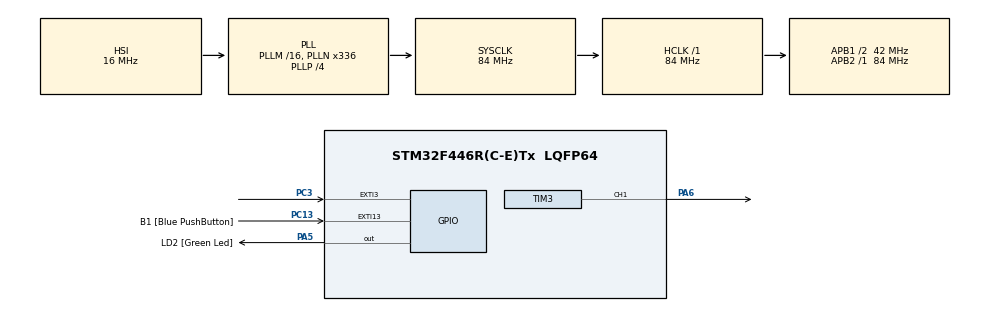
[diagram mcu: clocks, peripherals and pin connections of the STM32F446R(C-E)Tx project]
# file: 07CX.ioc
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Mcu.Family=STM32F4
Mcu.Name=STM32F446R(C-E)Tx
Mcu.Package=LQFP64
NVIC.EXTI15_10_IRQn=true\:0\:0\:false\:false\:true\:true\:true\:true
NVIC.EXTI3_IRQn=true\:0\:0\:false\:false\:true\:true\:true\:true
NVIC.PriorityGroup=NVIC_PRIORITYGROUP_0
PA13.GPIO_Label=TMS
PA13.Signal=SYS_JTMS-SWDIO
PA14.GPIO_Label=TCK
PA14.Signal=SYS_JTCK-SWCLK
PA2.GPIO_Label=USART_TX
PA2.Signal=USART2_TX
PA3.GPIO_Label=USART_RX
PA3.Signal=USART2_RX
PA5.GPIO_Label=LD2 [Green Led]
PA5.Signal=GPIO_Output
PA6.Signal=S_TIM3_CH1
PB3.GPIO_Label=SWO
PB3.Signal=SYS_JTDO-SWO
PC13.GPIO_Label=B1 [Blue PushButton]
PC13.GPIO_ModeDefaultEXTI=GPIO_MODE_IT_FALLING
PC13.GPIO_PuPd=GPIO_PULLUP
PC13.Signal=GPXTI13
PC14-OSC32_IN.Signal=RCC_OSC32_IN
PC15-OSC32_OUT.Signal=RCC_OSC32_OUT
PC3.GPIO_ModeDefaultEXTI=GPIO_MODE_IT_FALLING
PC3.GPIO_PuPd=GPIO_PULLUP
PC3.Signal=GPXTI3
PH0-OSC_IN.Signal=RCC_OSC_IN
PH1-OSC_OUT.Signal=RCC_OSC_OUT
ProjectManager.HeapSize=0x200
ProjectManager.StackSize=0x400
ProjectManager.TargetToolchain=STM32CubeIDE
RCC.AHBFreq_Value=84000000
RCC.APB1CLKDivider=RCC_HCLK_DIV2
RCC.APB1Freq_Value=42000000
RCC.APB1TimFreq_Value=84000000
RCC.APB2Freq_Value=84000000
RCC.APB2TimFreq_Value=84000000
RCC.CortexFreq_Value=84000000
RCC.FLatency-AdvancedSettings=FLASH_LATENCY_2
RCC.HCLKFreq_Value=84000000
RCC.HSE_VALUE=8000000
RCC.HSI_VALUE=16000000
RCC.LSE_VALUE=32768
RCC.PLLN=336
RCC.PLLP=RCC_PLLP_DIV4
RCC.SYSCLKFreq_VALUE=84000000
RCC.SYSCLKSource=RCC_SYSCLKSOURCE_PLLCLK
RCC.USBFreq_Value=168000000
RCC.VCOOutputFreq_Value=336000000
SH.S_TIM3_CH1.0=TIM3_CH1,Output Compare1 CH1
TIM3.Channel-Output\ Compare1\ CH1=TIM_CHANNEL_1
TIM3.OCMode_1=TIM_OCMODE_TOGGLE
TIM3.Period=13
TIM3.Prescaler=83
TIM6.Prescaler=83
VP_TIM3_VS_ClockSourceINT.Mode=Internal
VP_TIM6_VS_ClockSourceINT.Mode=Enable_Timer
board=NUCLEO-F446RE

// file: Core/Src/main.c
/* USER CODE BEGIN Header */
/**
  ******************************************************************************
  * @file           : main.c
  * @brief          : Main program body
  ******************************************************************************
  * @attention
  *
  * Copyright (c) 2025 STMicroelectronics.
  * All rights reserved.
  *
  * This software is licensed under terms that can be found in the LICENSE file
  * in the root directory of this software component.
  * If no LICENSE file comes with this software, it is provided AS-IS.
  *
  ******************************************************************************
  */
/* USER CODE END Header */
#include "main.h"

TIM_HandleTypeDef htim3;
TIM_HandleTypeDef htim6;

/* USER CODE BEGIN PV */

uint8_t ui8IRCounter;
uint8_t ui8NeedPulse;

uint8_t ui8TSOPTimer;
uint8_t ui8Error;

/* USER CODE END PV */

void SystemClock_Config(void);
static void MX_GPIO_Init(void);
static void MX_TIM3_Init(void);
static void MX_TIM6_Init(void);

int main(void)
{

  /* MCU Configuration--------------------------------------------------------*/

  /* Reset of all peripherals, Initializes the Flash interface and the Systick. */
  HAL_Init();

  /* Configure the system clock */
  SystemClock_Config();

  /* Initialize all configured peripherals */
  MX_GPIO_Init();
  MX_TIM3_Init();
  MX_TIM6_Init();
  /* USER CODE BEGIN 2 */

  HAL_TIM_OC_Start(&htim3, TIM_CHANNEL_1);
  HAL_TIM_Base_Start(&htim6);

  /* USER CODE END 2 */

  /* Infinite loop */
  /* USER CODE BEGIN WHILE */
  while (1)
  {
	  if(ui8NeedPulse)
	  {
		  ui8NeedPulse = 0;
		  GenerateIRPulse();

	  }

	  if(ui8Error)
	  {
		  HAL_GPIO_WritePin(GPIOA, GPIO_PIN_5, GPIO_PIN_SET);
	  }
	  else
	  {
		  HAL_GPIO_WritePin(GPIOA, GPIO_PIN_5, GPIO_PIN_RESET);
	  }
    /* USER CODE END WHILE */

  }
}

void SystemClock_Config(void)
{
  RCC_OscInitTypeDef RCC_OscInitStruct = {0};
  RCC_ClkInitTypeDef RCC_ClkInitStruct = {0};

  /** Configure the main internal regulator output voltage
  */
  __HAL_RCC_PWR_CLK_ENABLE();
  __HAL_PWR_VOLTAGESCALING_CONFIG(PWR_REGULATOR_VOLTAGE_SCALE3);

  /** Initializes the RCC Oscillators according to the specified parameters
  * in the RCC_OscInitTypeDef structure.
  */
  RCC_OscInitStruct.OscillatorType = RCC_OSCILLATORTYPE_HSI;
  RCC_OscInitStruct.HSIState = RCC_HSI_ON;
  RCC_OscInitStruct.HSICalibrationValue = RCC_HSICALIBRATION_DEFAULT;
  RCC_OscInitStruct.PLL.PLLState = RCC_PLL_ON;
  RCC_OscInitStruct.PLL.PLLSource = RCC_PLLSOURCE_HSI;
  RCC_OscInitStruct.PLL.PLLM = 16;
  RCC_OscInitStruct.PLL.PLLN = 336;
  RCC_OscInitStruct.PLL.PLLP = RCC_PLLP_DIV4;
  RCC_OscInitStruct.PLL.PLLQ = 2;
  RCC_OscInitStruct.PLL.PLLR = 2;
  if (HAL_RCC_OscConfig(&RCC_OscInitStruct) != HAL_OK)
  {
    Error_Handler();
  }

  /** Initializes the CPU, AHB and APB buses clocks
  */
  RCC_ClkInitStruct.ClockType = RCC_CLOCKTYPE_HCLK|RCC_CLOCKTYPE_SYSCLK
                              |RCC_CLOCKTYPE_PCLK1|RCC_CLOCKTYPE_PCLK2;
  RCC_ClkInitStruct.SYSCLKSource = RCC_SYSCLKSOURCE_PLLCLK;
  RCC_ClkInitStruct.AHBCLKDivider = RCC_SYSCLK_DIV1;
  RCC_ClkInitStruct.APB1CLKDivider = RCC_HCLK_DIV2;
  RCC_ClkInitStruct.APB2CLKDivider = RCC_HCLK_DIV1;

  if (HAL_RCC_ClockConfig(&RCC_ClkInitStruct, FLASH_LATENCY_2) != HAL_OK)
  {
    Error_Handler();
  }
}

static void MX_TIM3_Init(void)
{

  TIM_ClockConfigTypeDef sClockSourceConfig = {0};
  TIM_MasterConfigTypeDef sMasterConfig = {0};
  TIM_OC_InitTypeDef sConfigOC = {0};

  htim3.Instance = TIM3;
  htim3.Init.Prescaler = 83;
  htim3.Init.CounterMode = TIM_COUNTERMODE_UP;
  htim3.Init.Period = 13;
  htim3.Init.ClockDivision = TIM_CLOCKDIVISION_DIV1;
  htim3.Init.AutoReloadPreload = TIM_AUTORELOAD_PRELOAD_DISABLE;
  if (HAL_TIM_Base_Init(&htim3) != HAL_OK)
  {
    Error_Handler();
  }
  sClockSourceConfig.ClockSource = TIM_CLOCKSOURCE_INTERNAL;
  if (HAL_TIM_ConfigClockSource(&htim3, &sClockSourceConfig) != HAL_OK)
  {
    Error_Handler();
  }
  if (HAL_TIM_OC_Init(&htim3) != HAL_OK)
  {
    Error_Handler();
  }
  sMasterConfig.MasterOutputTrigger = TIM_TRGO_RESET;
  sMasterConfig.MasterSlaveMode = TIM_MASTERSLAVEMODE_DISABLE;
  if (HAL_TIMEx_MasterConfigSynchronization(&htim3, &sMasterConfig) != HAL_OK)
  {
    Error_Handler();
  }
  sConfigOC.OCMode = TIM_OCMODE_TOGGLE;
  sConfigOC.Pulse = 0;
  sConfigOC.OCPolarity = TIM_OCPOLARITY_HIGH;
  sConfigOC.OCFastMode = TIM_OCFAST_DISABLE;
  if (HAL_TIM_OC_ConfigChannel(&htim3, &sConfigOC, TIM_CHANNEL_1) != HAL_OK)
  {
    Error_Handler();
  }
  HAL_TIM_MspPostInit(&htim3);

}

static void MX_TIM6_Init(void)
{

  TIM_MasterConfigTypeDef sMasterConfig = {0};

  htim6.Instance = TIM6;
  htim6.Init.Prescaler = 83;
  htim6.Init.CounterMode = TIM_COUNTERMODE_UP;
  htim6.Init.Period = 65535;
  htim6.Init.AutoReloadPreload = TIM_AUTORELOAD_PRELOAD_DISABLE;
  if (HAL_TIM_Base_Init(&htim6) != HAL_OK)
  {
    Error_Handler();
  }
  sMasterConfig.MasterOutputTrigger = TIM_TRGO_RESET;
  sMasterConfig.MasterSlaveMode = TIM_MASTERSLAVEMODE_DISABLE;
  if (HAL_TIMEx_MasterConfigSynchronization(&htim6, &sMasterConfig) != HAL_OK)
  {
    Error_Handler();
  }

}

static void MX_GPIO_Init(void)
{
  GPIO_InitTypeDef GPIO_InitStruct = {0};

  /* GPIO Ports Clock Enable */
  __HAL_RCC_GPIOC_CLK_ENABLE();
  __HAL_RCC_GPIOH_CLK_ENABLE();
  __HAL_RCC_GPIOA_CLK_ENABLE();
  __HAL_RCC_GPIOB_CLK_ENABLE();

  /*Configure GPIO pin Output Level */
  HAL_GPIO_WritePin(LD2_GPIO_Port, LD2_Pin, GPIO_PIN_RESET);

  /*Configure GPIO pins : B1_Pin PC3 */
  GPIO_InitStruct.Pin = B1_Pin|GPIO_PIN_3;
  GPIO_InitStruct.Mode = GPIO_MODE_IT_FALLING;
  GPIO_InitStruct.Pull = GPIO_PULLUP;
  HAL_GPIO_Init(GPIOC, &GPIO_InitStruct);

  /*Configure GPIO pins : USART_TX_Pin USART_RX_Pin */
  GPIO_InitStruct.Pin = USART_TX_Pin|USART_RX_Pin;
  GPIO_InitStruct.Mode = GPIO_MODE_AF_PP;
  GPIO_InitStruct.Pull = GPIO_NOPULL;
  GPIO_InitStruct.Speed = GPIO_SPEED_FREQ_VERY_HIGH;
  GPIO_InitStruct.Alternate = GPIO_AF7_USART2;
  HAL_GPIO_Init(GPIOA, &GPIO_InitStruct);

  /*Configure GPIO pin : LD2_Pin */
  GPIO_InitStruct.Pin = LD2_Pin;
  GPIO_InitStruct.Mode = GPIO_MODE_OUTPUT_PP;
  GPIO_InitStruct.Pull = GPIO_NOPULL;
  GPIO_InitStruct.Speed = GPIO_SPEED_FREQ_LOW;
  HAL_GPIO_Init(LD2_GPIO_Port, &GPIO_InitStruct);

  /* EXTI interrupt init*/
  HAL_NVIC_SetPriority(EXTI3_IRQn, 0, 0);
  HAL_NVIC_EnableIRQ(EXTI3_IRQn);

  HAL_NVIC_SetPriority(EXTI15_10_IRQn, 0, 0);
  HAL_NVIC_EnableIRQ(EXTI15_10_IRQn);

}

/* USER CODE BEGIN 4 */
void GenerateIRPulse(void)
{
	// Generate 300uS pulse
	GPIOA->MODER |= (0x02 << (6*2)); // AF Mode for PA6 => Output 36 KHZ
	__HAL_TIM_SET_COUNTER(&htim6,0);
	while(__HAL_TIM_GET_COUNTER(&htim6) < 300);

	// turn off
	GPIOA->MODER &= ~(0x3 << (6*2)); // INPUT Mode => No 36 KHZ

}

void IRTimer1KHZ(void)
{
	if(ui8IRCounter) ui8IRCounter --;
	else
	{
		ui8IRCounter = 9;
		ui8NeedPulse = 1;

	}
}

void TSOPTimer1KHZ(void)
{
	if(ui8TSOPTimer < 100) ui8TSOPTimer ++;

	if(ui8TSOPTimer > 40) ui8Error = 1;
}

void HAL_GPIO_EXTI_Callback(uint16_t GPIO_Pin)
{
  /* Prevent unused argument(s) compilation warning */
  //UNUSED(GPIO_Pin);
  /* NOTE: This function Should not be modified, when the callback is needed,
           the HAL_GPIO_EXTI_Callback could be implemented in the user file
   */
	if(GPIO_Pin == GPIO_PIN_3)
	{
		// TSOP falling edge
		ui8TSOPTimer = 0;
	}
	if(GPIO_Pin == GPIO_PIN_13)
	{
		//Blue Button
		ui8Error = 0;
	}
}

/* USER CODE END 4 */

void Error_Handler(void)
{
  __disable_irq();
  while (1)
  {
  }
}
